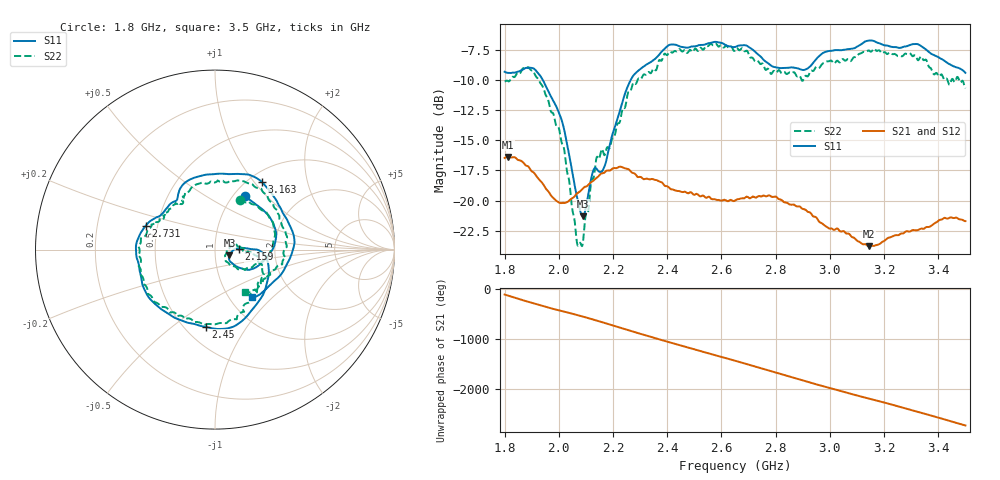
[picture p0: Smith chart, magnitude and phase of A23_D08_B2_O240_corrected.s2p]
! Created with skrf 1.9.0 (http://scikit-rf.org).
# Hz S RI R 50.0
!freq ReS11 ImS11 ReS21 ImS21 ReS12 ImS12 ReS22 ImS22
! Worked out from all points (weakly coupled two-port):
!   1601 points, 1.8 GHz to 3.5 GHz, reference 50 ohm
!   highest |S21| = -16.38 dB at 1.812 GHz (marker M1); lowest = -23.8 dB at 3.143 GHz (marker M2)
!   lowest |S11| = -21.3 dB at 2.089 GHz (marker M3), VSWR 1.19, Z = 58.6 - j3.66 ohm
!   |S11| at or under -10 dB: 1.941 GHz to 2.265 GHz (324.4 MHz wide, 15.4 % of centre)
!   |S22| runs from -23.8 to -7.0 dB; largest |S21 - S12| = 0.0029
!   S11 on the Smith chart (normalised r, x): 1.8 GHz: 1.12, +0.76; 2.159 GHz: 1.30, +0.01; 2.45 GHz: 0.63, -0.67; 2.731 GHz: 0.43, +0.14; 3.163 GHz: 1.16, +1.10; 3.5 GHz: 1.27, -0.76
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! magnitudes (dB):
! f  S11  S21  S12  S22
! 1.8 GHz  -9.3  -16.5  -16.5  -10.1
! 1.812 GHz  -9.4  -16.4  -16.4  -10.1
! 1.887 GHz  -9.0  -17.2  -17.2  -8.9
! 1.941 GHz  -10.0  -18.6  -18.6  -10.6
! 2.013 GHz  -13.5  -20.2  -20.2  -15.3
! 2.066 GHz  -19.6  -19.5  -19.5  -23.3
! 2.084 GHz  -21.2  -19.1  -19.1  -23.7
! 2.089 GHz  -21.3  -19.0  -19.0  -23.5
! 2.127 GHz  -17.5  -18.4  -18.4  -18.2
! 2.159 GHz  -17.6  -17.7  -17.7  -15.7
! 2.192 GHz  -15.0  -17.5  -17.5  -15.3
! 2.263 GHz  -10.1  -17.5  -17.5  -11.0
! 2.367 GHz  -8.0  -18.4  -18.3  -8.5
! 2.45 GHz  -7.2  -19.3  -19.3  -7.6
! 2.65 GHz  -7.3  -20.0  -20.0  -7.6
! 2.731 GHz  -7.8  -19.7  -19.8  -8.4
! 2.934 GHz  -8.7  -21.2  -21.2  -9.2
! 3.143 GHz  -6.7  -23.8  -23.7  -7.5
! 3.163 GHz  -6.8  -23.8  -23.7  -7.4
! 3.217 GHz  -7.2  -23.1  -23.1  -7.8
! 3.326 GHz  -7.0  -22.4  -22.4  -8.4
! 3.5 GHz  -9.4  -21.7  -21.7  -10.7
